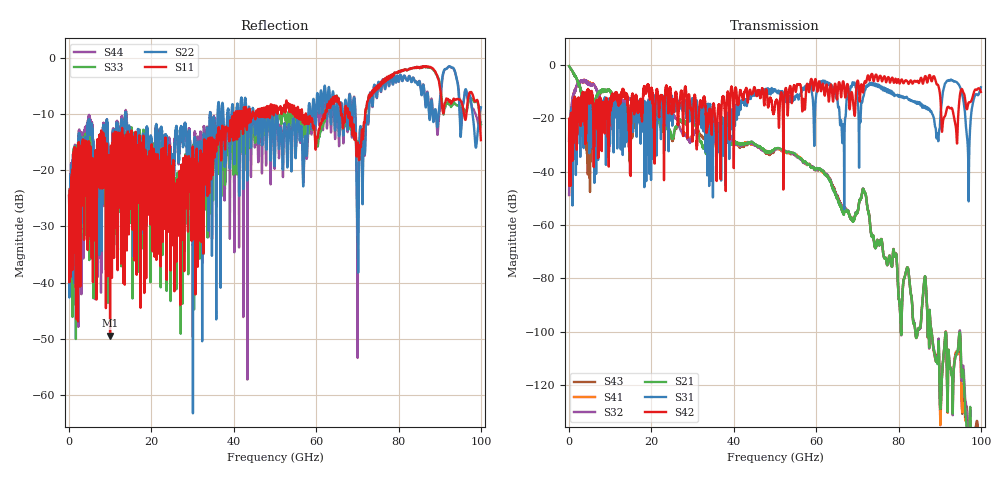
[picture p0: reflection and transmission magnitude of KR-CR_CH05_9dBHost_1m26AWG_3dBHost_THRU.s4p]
# GHz S MA R 50.00
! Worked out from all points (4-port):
!   10000 points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, 10 MHz to 100 GHz, reference 50 ohm
!   strongest paths, dB at 10 MHz, 25.01 GHz, 50.01 GHz, 75.01 GHz, 100 GHz:
!     S42: -28.5, -16.1, -14.7, -6.1, -10.2
!     S31: -28.6, -17.1, -9.2, -8.2, -8.4
!     S21: -0.6, -27.6, -31.5, -66.6, -142.2
!     S32: -48.8, -18.4, -31.8, -66.5, -139.9
!     S41: -48.8, -18.4, -31.8, -66.5, -145.8
!     S43: -0.6, -28.3, -31.9, -66.5, -162.0
!   lowest |S11| = -49.5 dB at 9.96 GHz (marker M1), VSWR 1.01, Z = 50.3 + j0.193 ohm
!   |S11| at or under -10 dB: start of sweep to 40.07 GHz; 57.52 GHz to 62.2 GHz (4.689 GHz wide, 7.83 % of centre); 68.16 GHz to 71.89 GHz (3.731 GHz wide, 5.33 % of centre)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
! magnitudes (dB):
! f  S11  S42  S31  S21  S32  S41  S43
! 10 MHz  -24.5  -28.5  -28.6  -0.6  -48.8  -48.8  -0.6
! 2.63 GHz  -23.7  -17.6  -21.4  -8.3  -6.3  -6.3  -8.5
! 9.96 GHz  -49.5  -14.4  -21.4  -9.9  -23.5  -23.2  -9.9
! 54.4 GHz  -9.8  -8.9  -13.1  -32.9  -33.4  -33.0  -33.5
! 92.7 GHz  -8.1  -16.3  -5.6  -114.0  -113.8  -113.9  -113.7
! 96.9 GHz  -7.2  -14.7  -34.0  -141.9  -145.8  -142.0  -140.0
! 100 GHz  -14.6  -10.2  -8.4  -142.2  -139.9  -145.8  -162.0
